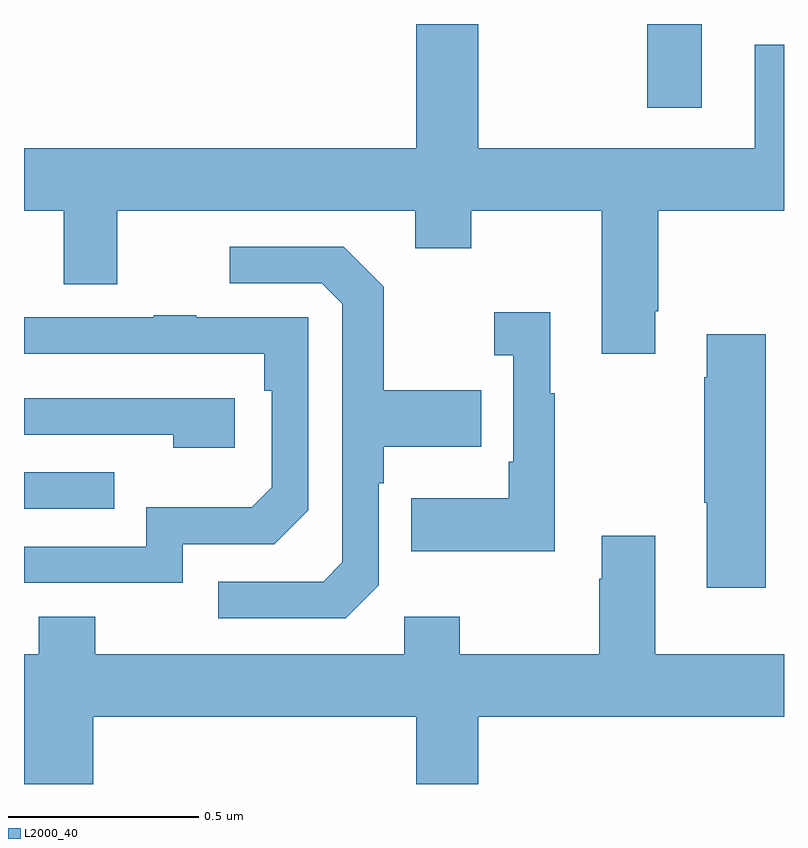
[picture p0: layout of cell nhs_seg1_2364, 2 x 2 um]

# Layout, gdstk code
import gdstk
lib = gdstk.Library(unit=1e-6, precision=1e-09)
def R(c, l, rs):  # rectangles x0, y0, x1, y1
    for r in rs: c.add(gdstk.rectangle(r[:2], r[2:], *l))
def P(c, l, *ps):  # polygons
    for p in ps: c.add(gdstk.Polygon(p, *l))
L2000_40 = (2000, 40)

nhs_seg1_2364 = lib.new_cell('nhs_seg1_2364')
R(nhs_seg1_2364, L2000_40, [(140,574.923,140.237,575.019), (141.64,575.979,141.784,576.199)])
P(nhs_seg1_2364, L2000_40, [(141.661,575.443),(141.669,575.443),(141.669,575.708),(142,575.708),(142,576.145),(141.923,576.145),(141.923,575.872),(141.196,575.872),(141.196,576.199),(141.032,576.199),(141.032,575.872),(140,575.872),(140,575.708),(140.105,575.708),(140.105,575.514),(140.245,575.514),(140.245,575.708),(141.029,575.708),(141.029,575.609),(141.177,575.609),(141.177,575.708),(141.521,575.708),(141.521,575.331),(141.661,575.331)],
  [(140.934,574.722),(140.934,574.991),(140.947,574.991),(140.947,575.087),(141.203,575.087),(141.203,575.235),(140.947,575.235),(140.947,575.507),(140.841,575.613),(140.541,575.613),(140.541,575.517),(140.784,575.517),(140.838,575.463),(140.838,574.782),(140.787,574.731),(140.511,574.731),(140.511,574.635),(140.847,574.635)],
  [(141.397,575.227),(141.385,575.227),(141.385,575.44),(141.237,575.44),(141.237,575.327),(141.288,575.327),(141.288,575.047),(141.276,575.047),(141.276,574.951),(141.019,574.951),(141.019,574.811),(141.397,574.811)],
  [(140.418,574.83),(140.658,574.83),(140.748,574.92),(140.748,575.427),(140.453,575.427),(140.453,575.432),(140.341,575.432),(140.341,575.427),(140,575.427),(140,575.331),(140.632,575.331),(140.632,575.234),(140.652,575.234),(140.652,574.98),(140.599,574.927),(140.322,574.927),(140.322,574.824),(140,574.824),(140,574.728),(140.418,574.728)],
  [(141.952,575.383),(141.797,575.383),(141.797,575.27),(141.79,575.27),(141.79,574.939),(141.797,574.939),(141.797,574.716),(141.952,574.716)],
  [(140.554,575.214),(140,575.214),(140,575.118),(140.393,575.118),(140.393,575.084),(140.554,575.084)],
  [(140.182,574.376),(141.032,574.376),(141.032,574.199),(141.196,574.199),(141.196,574.376),(142,574.376),(142,574.54),(141.661,574.54),(141.661,574.852),(141.521,574.852),(141.521,574.739),(141.514,574.739),(141.514,574.54),(141.147,574.54),(141.147,574.639),(141,574.639),(141,574.54),(140.187,574.54),(140.187,574.639),(140.039,574.639),(140.039,574.54),(140,574.54),(140,574.199),(140.182,574.199)])

lib.write_gds('nhs_seg1_2364.gds')
